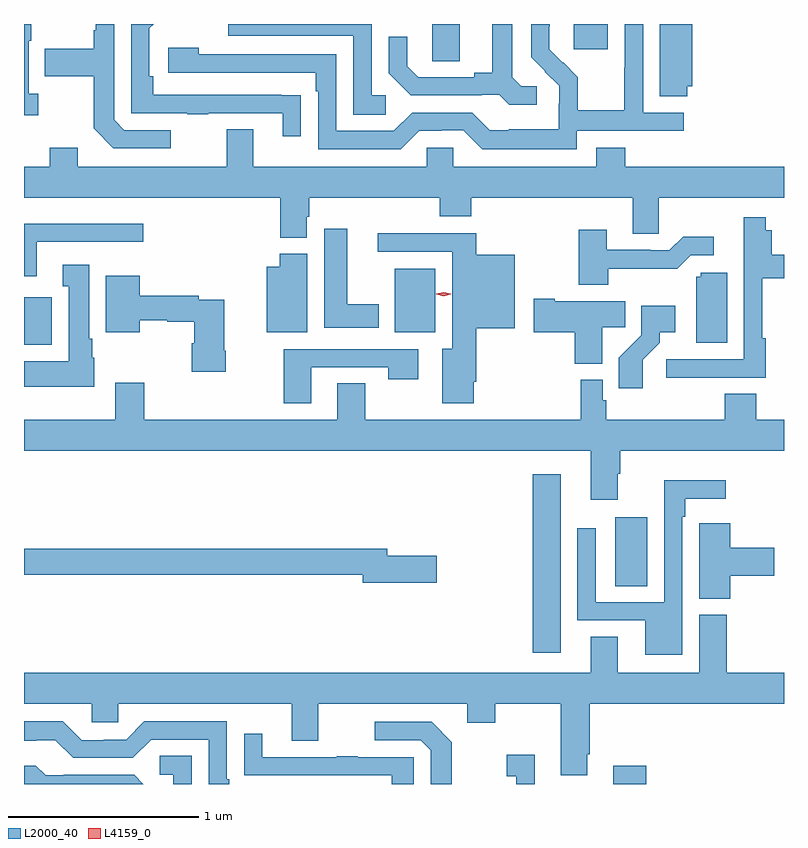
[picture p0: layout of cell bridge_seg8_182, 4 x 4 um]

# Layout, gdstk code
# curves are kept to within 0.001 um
import gdstk
lib = gdstk.Library(unit=1e-6, precision=1e-09)
def R(c, l, rs):  # rectangles x0, y0, x1, y1
    for r in rs: c.add(gdstk.rectangle(r[:2], r[2:], *l))
def P(c, l, *ps):  # polygons
    for p in ps: c.add(gdstk.Polygon(p, *l))
L2000_40 = (2000, 40)
L4159_0 = (4159, 0)

bridge_seg8_182 = lib.new_cell('bridge_seg8_182')
R(bridge_seg8_182, L2000_40, [(277.439,1089.438,277.612,1089.535), (277.016,1090.128,277.162,1091.068), (277.451,1090.48,277.618,1090.843), (274.338,1091.75,274.485,1092.001), (276.29,1091.816,276.502,1092.151), (276.486,1093.243,276.631,1093.438), (277.232,1093.305,277.411,1093.438)])
P(bridge_seg8_182, L2000_40, [(275.11,1092.879),(274.866,1092.879),(274.812,1092.933),(274.812,1093.438),(274.716,1093.438),(274.716,1093.405),(274.704,1093.405),(274.704,1093.309),(274.447,1093.309),(274.447,1093.162),(274.704,1093.162),(274.704,1092.889),(274.809,1092.783),(275.11,1092.783)],
  [(274.414,1093.07),(274.362,1093.07),(274.362,1093.349),(274.375,1093.349),(274.375,1093.438),(274.338,1093.438),(274.338,1092.957),(274.414,1092.957)],
  [(276.241,1093.062),(276.168,1093.062),(276.168,1093.438),(275.413,1093.438),(275.413,1093.377),(276.072,1093.377),(276.072,1092.961),(276.241,1092.961)],
  [(277.036,1093.11),(276.954,1093.11),(276.907,1093.157),(276.907,1093.438),(276.803,1093.438),(276.803,1093.181),(276.707,1093.181),(276.707,1093.158),(276.412,1093.158),(276.355,1093.215),(276.355,1093.372),(276.258,1093.372),(276.258,1093.178),(276.374,1093.062),(276.746,1093.062),(276.746,1093.065),(276.84,1093.065),(276.892,1093.013),(277.036,1093.013)],
  [(275.795,1093.064),(275.018,1093.065),(275.018,1093.162),(274.998,1093.162),(274.998,1093.416),(275.02,1093.438),(274.902,1093.438),(274.902,1092.969),(275.197,1092.969),(275.197,1092.964),(275.309,1092.964),(275.309,1092.969),(275.699,1092.969),(275.699,1092.846),(275.795,1092.846)],
  [(277.248,1092.876),(277.81,1092.876),(277.81,1092.972),(277.596,1092.972),(277.596,1093.438),(277.5,1093.438),(277.5,1093.208),(277.498,1093.208),(277.498,1092.985),(277.253,1092.985),(277.253,1093.159),(277.176,1093.236),(277.173,1093.233),(277.103,1093.304),(277.104,1093.438),(277.008,1093.438),(277.008,1093.262),(277.154,1093.114),(277.154,1093.017),(277.152,1093.017),(277.152,1092.883),(276.889,1092.883),(276.889,1092.879),(276.789,1092.879),(276.696,1092.972),(276.381,1092.972),(276.285,1092.876),(275.982,1092.876),(275.982,1093.278),(275.258,1093.278),(275.258,1093.312),(275.097,1093.312),(275.097,1093.182),(275.873,1093.182),(275.873,1093.085),(275.886,1093.085),(275.886,1092.78),(276.321,1092.78),(276.417,1092.876),(276.536,1092.876),(276.536,1092.879),(276.651,1092.879),(276.751,1092.779),(277.248,1092.779)],
  [(277.829,1093.11),(277.856,1093.11),(277.856,1093.438),(277.685,1093.438),(277.685,1093.057),(277.829,1093.057)],
  [(275.827,1092.423),(275.84,1092.423),(275.84,1092.524),(276.527,1092.524),(276.527,1092.425),(276.692,1092.425),(276.692,1092.524),(277.541,1092.524),(277.541,1092.334),(277.68,1092.334),(277.68,1092.524),(278.338,1092.524),(278.338,1092.688),(277.502,1092.688),(277.502,1092.787),(277.349,1092.787),(277.349,1092.688),(276.597,1092.688),(276.597,1092.786),(276.459,1092.786),(276.459,1092.688),(275.545,1092.688),(275.545,1092.883),(275.405,1092.883),(275.405,1092.688),(274.621,1092.688),(274.621,1092.787),(274.474,1092.787),(274.474,1092.688),(274.338,1092.688),(274.338,1092.524),(275.687,1092.524),(275.687,1092.313),(275.827,1092.313)],
  [(277.943,1091.577),(278.243,1091.577),(278.243,1091.783),(278.223,1091.783),(278.223,1092.101),(278.338,1092.101),(278.338,1092.223),(278.273,1092.223),(278.273,1092.352),(278.243,1092.352),(278.243,1092.421),(278.127,1092.421),(278.127,1091.673),(277.719,1091.673),(277.719,1091.575),(277.943,1091.575)],
  [(274.405,1092.291),(274.966,1092.291),(274.966,1092.388),(274.338,1092.388),(274.338,1092.11),(274.405,1092.11)],
  [(276.205,1091.962),(276.04,1091.962),(276.04,1092.361),(275.918,1092.361),(275.918,1091.84),(276.205,1091.84)],
  [(277.413,1092.15),(277.775,1092.149),(277.848,1092.222),(277.969,1092.222),(277.969,1092.319),(277.807,1092.319),(277.734,1092.246),(277.634,1092.246),(277.634,1092.249),(277.405,1092.249),(277.405,1092.355),(277.258,1092.355),(277.258,1092.065),(277.413,1092.065)],
  [(276.706,1091.554),(276.719,1091.554),(276.719,1091.837),(276.922,1091.837),(276.922,1092.223),(276.719,1092.223),(276.719,1092.338),(276.201,1092.338),(276.201,1092.24),(276.593,1092.24),(276.593,1091.728),(276.539,1091.728),(276.539,1091.442),(276.706,1091.442)],
  [(275.83,1092.228),(275.684,1092.228),(275.684,1092.16),(275.615,1092.16),(275.615,1091.816),(275.83,1091.816)],
  [(274.708,1091.682),(274.696,1091.682),(274.696,1091.782),(274.681,1091.782),(274.681,1092.172),(274.541,1092.172),(274.541,1092.059),(274.574,1092.059),(274.574,1091.662),(274.338,1091.662),(274.338,1091.528),(274.708,1091.528)],
  [(278.038,1092.129),(277.899,1092.129),(277.899,1092.108),(277.877,1092.108),(277.877,1091.76),(278.038,1091.76)],
  [(275.4,1091.719),(275.392,1091.719),(275.392,1091.988),(275.258,1091.988),(275.258,1092.008),(274.948,1092.008),(274.948,1092.112),(274.769,1092.112),(274.769,1091.816),(274.948,1091.816),(274.948,1091.88),(275.091,1091.88),(275.091,1091.872),(275.234,1091.872),(275.234,1091.757),(275.222,1091.757),(275.222,1091.607),(275.4,1091.607)],
  [(277.381,1091.842),(277.502,1091.842),(277.502,1091.98),(277.132,1091.98),(277.132,1091.993),(277.02,1091.993),(277.02,1091.815),(277.237,1091.815),(277.237,1091.651),(277.381,1091.651)],
  [(277.594,1091.671),(277.684,1091.761),(277.684,1091.816),(277.765,1091.816),(277.765,1091.956),(277.587,1091.956),(277.587,1091.801),(277.468,1091.682),(277.468,1091.52),(277.594,1091.52)],
  [(275.851,1091.631),(276.256,1091.631),(276.256,1091.568),(276.412,1091.568),(276.412,1091.727),(275.704,1091.727),(275.704,1091.442),(275.851,1091.442)],
  [(277.462,1091.072),(277.475,1091.072),(277.475,1091.192),(278.338,1091.192),(278.338,1091.356),(278.192,1091.356),(278.192,1091.492),(278.027,1091.492),(278.027,1091.356),(277.403,1091.356),(277.403,1091.457),(277.383,1091.457),(277.383,1091.566),(277.267,1091.566),(277.267,1091.356),(276.135,1091.356),(276.135,1091.546),(275.987,1091.546),(275.987,1091.356),(274.97,1091.356),(274.97,1091.551),(274.817,1091.551),(274.817,1091.356),(274.338,1091.356),(274.338,1091.192),(277.322,1091.192),(277.322,1090.935),(277.462,1090.935)],
  [(277.803,1090.844),(277.819,1090.844),(277.819,1090.94),(278.032,1090.94),(278.032,1091.038),(277.707,1091.038),(277.707,1090.395),(277.347,1090.395),(277.347,1090.783),(277.251,1090.783),(277.251,1090.299),(277.607,1090.299),(277.607,1090.118),(277.803,1090.118)],
  [(278.054,1090.535),(278.287,1090.535),(278.287,1090.682),(278.054,1090.682),(278.054,1090.81),(277.893,1090.81),(277.893,1090.697),(277.892,1090.697),(277.892,1090.414),(278.054,1090.414)],
  [(276.511,1090.64),(276.25,1090.64),(276.25,1090.676),(274.338,1090.676),(274.338,1090.54),(276.122,1090.54),(276.122,1090.498),(276.511,1090.498)],
  [(277.303,1089.595),(277.316,1089.595),(277.316,1089.86),(278.338,1089.86),(278.338,1090.024),(278.036,1090.024),(278.036,1090.329),(277.892,1090.329),(277.892,1090.024),(277.462,1090.024),(277.462,1090.214),(277.322,1090.214),(277.322,1090.024),(274.338,1090.024),(274.338,1089.86),(274.695,1089.86),(274.695,1089.762),(274.833,1089.762),(274.833,1089.86),(275.747,1089.86),(275.747,1089.666),(275.887,1089.666),(275.887,1089.86),(276.671,1089.86),(276.671,1089.761),(276.819,1089.761),(276.819,1089.86),(277.163,1089.86),(277.163,1089.483),(277.303,1089.483)],
  [(275.419,1089.463),(275.406,1089.463),(275.406,1089.768),(274.971,1089.768),(274.875,1089.672),(274.757,1089.672),(274.757,1089.669),(274.641,1089.669),(274.541,1089.769),(274.338,1089.769),(274.338,1089.665),(274.403,1089.665),(274.403,1089.669),(274.503,1089.669),(274.596,1089.576),(274.911,1089.576),(275.007,1089.672),(275.31,1089.672),(275.31,1089.438),(275.419,1089.438)],
  [(276.589,1089.659),(276.483,1089.765),(276.183,1089.765),(276.183,1089.669),(276.426,1089.669),(276.48,1089.615),(276.48,1089.438),(276.589,1089.438)],
  [(276.39,1089.579),(276.095,1089.579),(276.095,1089.584),(275.983,1089.584),(275.983,1089.579),(275.593,1089.579),(275.593,1089.703),(275.497,1089.703),(275.497,1089.484),(275.599,1089.484),(275.599,1089.483),(276.274,1089.483),(276.274,1089.438),(276.39,1089.438)],
  [(277.027,1089.592),(276.879,1089.592),(276.879,1089.479),(276.93,1089.479),(276.93,1089.438),(277.027,1089.438)],
  [(275.22,1089.587),(275.052,1089.587),(275.052,1089.486),(275.124,1089.486),(275.124,1089.438),(275.22,1089.438)],
  [(274.918,1089.486),(274.546,1089.486),(274.546,1089.483),(274.452,1089.483),(274.4,1089.535),(274.338,1089.535),(274.338,1089.438),(274.966,1089.438)])
P(bridge_seg8_182, L4159_0, [(276.546,1092.006),(276.508,1092.016),(276.508,1092.016),(276.508,1092.017),(276.546,1092.026),(276.585,1092.017),(276.585,1092.017),(276.585,1092.016)])

lib.write_gds('bridge_seg8_182.gds')
